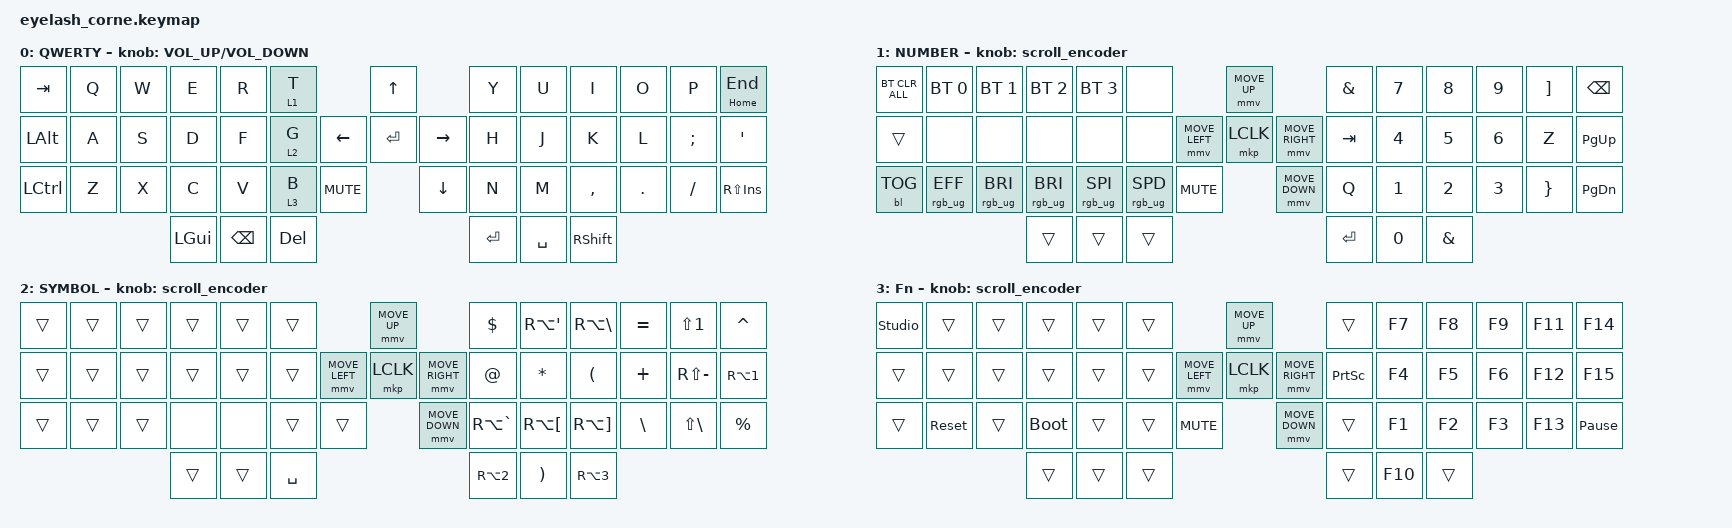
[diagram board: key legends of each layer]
#include <dt-bindings/zmk/mouse.h>
#include <input/processors.dtsi>
#include <behaviors.dtsi>
#include <dt-bindings/zmk/backlight.h>
#include <dt-bindings/zmk/bt.h>
#include <dt-bindings/zmk/keys.h>
#include <dt-bindings/zmk/pointing.h>
#include <dt-bindings/zmk/rgb.h>

/*

   &mmv_input_listener {
       input-processors = <&zip_xy_scaler 2 1>;
   };

   &msc_input_listener {
       input-processors = <&zip_xy_scaler 2 1>;
   };

 */

#define ZMK_MOUSE_DEFAULT_MOVE_VAL 1200  // 600
#define ZMK_MOUSE_DEFAULT_SCRL_VAL 20    // 10

/ {
    behaviors {
        td0: td0 {
            compatible = "zmk,behavior-tap-dance";
            display-name = "Shift/Caps Lock Tap Dance";
            #binding-cells = <0>;
            bindings = <&kp LEFT_SHIFT>, <&kp CAPS>;
        };
    };

    rgb_encoder: rgb_encoder {
        compatible = "zmk,behavior-sensor-rotate";
        #sensor-binding-cells = <0>;
        bindings = <&rgb_ug RGB_BRI>, <&rgb_ug RGB_BRD>;
    };

    scroll_encoder: scroll_encoder {
        compatible = "zmk,behavior-sensor-rotate";
        #sensor-binding-cells = <0>;
        bindings = <&msc SCRL_DOWN>, <&msc SCRL_UP>;

        tap-ms = <30>;
    };

    combos {
        compatible = "zmk,combos";

        escape {
            bindings = <&kp ESCAPE>;
            key-positions = <0 1>;
        };

        caps {
            bindings = <&kp CAPSLOCK>;
            key-positions = <42 47>;
        };

        apostrofe {
            bindings = <&kp MINUS>;
            key-positions = <12 11>;
        };
    };

    keymap {
        compatible = "zmk,keymap";

        default_layer {
            display-name = "QWERTY";
            bindings = <
&kp TAB       &kp Q  &kp W  &kp E     &kp R          &lt 1 T                             &kp UP                &kp Y       &kp U      &kp I            &kp O    &kp P     &mt HOME END
&kp LEFT_ALT  &kp A  &kp S  &kp D     &kp F          &lt 2 G                   &kp LEFT  &kp ENTER  &kp RIGHT  &kp H       &kp J      &kp K            &kp L    &kp SEMI  &kp SQT
&kp LCTRL     &kp Z  &kp X  &kp C     &kp V          &lt 3 B     &kp K_MUTE              &kp DOWN              &kp N       &kp M      &kp COMMA        &kp DOT  &kp FSLH  &kp RS(INS)
                            &kp LGUI  &kp BACKSPACE  &kp DELETE                                                &kp RETURN  &kp SPACE  &kp RIGHT_SHIFT
            >;

            sensor-bindings = <&inc_dec_kp C_VOLUME_UP C_VOLUME_DOWN>;
        };

        lower_layer {
            display-name = "NUMBER";
            bindings = <
&bt BT_CLR_ALL  &bt BT_SEL 0     &bt BT_SEL 1     &bt BT_SEL 2     &bt BT_SEL 3     &none                                          &mmv MOVE_UP                     &kp AMPERSAND  &kp N7        &kp N8        &kp N9        &kp RIGHT_BRACKET  &kp BSPC
&trans          &none            &none            &none            &none            &none                          &mmv MOVE_LEFT  &mkp LCLK       &mmv MOVE_RIGHT  &kp TAB        &kp NUMBER_4  &kp NUMBER_5  &kp NUMBER_6  &kp Z              &kp PG_UP
&bl BL_TOG      &rgb_ug RGB_EFF  &rgb_ug RGB_BRI  &rgb_ug RGB_BRI  &rgb_ug RGB_SPI  &rgb_ug RGB_SPD  &kp C_MUTE                    &mmv MOVE_DOWN                   &kp Q          &kp NUMBER_1  &kp NUMBER_2  &kp NUMBER_3  &kp RIGHT_BRACE    &kp PG_DN
                                                  &trans           &trans           &trans                                                                          &kp ENTER      &kp NUMBER_0  &kp AMPS
            >;

            sensor-bindings = <&scroll_encoder>;
        };

        raise_layer {
            display-name = "SYMBOL";
            bindings = <
&trans  &trans  &trans  &trans  &trans  &trans                               &mmv MOVE_UP                     &kp DOLLAR        &kp RA(APOS)           &kp RA(BACKSLASH)      &kp EQUAL      &kp LS(NUMBER_1)   &kp CARET
&trans  &trans  &trans  &trans  &trans  &trans               &mmv MOVE_LEFT  &mkp LCLK       &mmv MOVE_RIGHT  &kp AT            &kp ASTERISK           &kp LEFT_PARENTHESIS   &kp PLUS       &kp RS(MINUS)      &kp RA(NUMBER_1)
&trans  &trans  &trans  &none   &none   &trans     &trans                    &mmv MOVE_DOWN                   &kp RA(GRAVE)     &kp RA(LEFT_BRACKET)   &kp RA(RIGHT_BRACKET)  &kp BACKSLASH  &kp LS(BACKSLASH)  &kp PERCENT
                        &trans  &trans  &kp SPACE                                                             &kp RA(NUMBER_2)  &kp RIGHT_PARENTHESIS  &kp RA(NUMBER_3)
            >;

            sensor-bindings = <&scroll_encoder>;
        };

        layer_3 {
            display-name = "Fn";
            bindings = <
&studio_unlock  &trans      &trans  &trans       &trans  &trans                                &mmv MOVE_UP                     &trans           &kp F7   &kp F8  &kp F9  &kp F11  &kp F14
&trans          &trans      &trans  &trans       &trans  &trans                &mmv MOVE_LEFT  &mkp LCLK       &mmv MOVE_RIGHT  &kp PRINTSCREEN  &kp F4   &kp F5  &kp F6  &kp F12  &kp F15
&trans          &sys_reset  &trans  &bootloader  &trans  &trans  &kp C_MUTE                    &mmv MOVE_DOWN                   &trans           &kp F1   &kp F2  &kp F3  &kp F13  &kp PAUSE_BREAK
                                    &trans       &trans  &trans                                                                 &trans           &kp F10  &trans
            >;

            sensor-bindings = <&scroll_encoder>;
        };
    };
};
